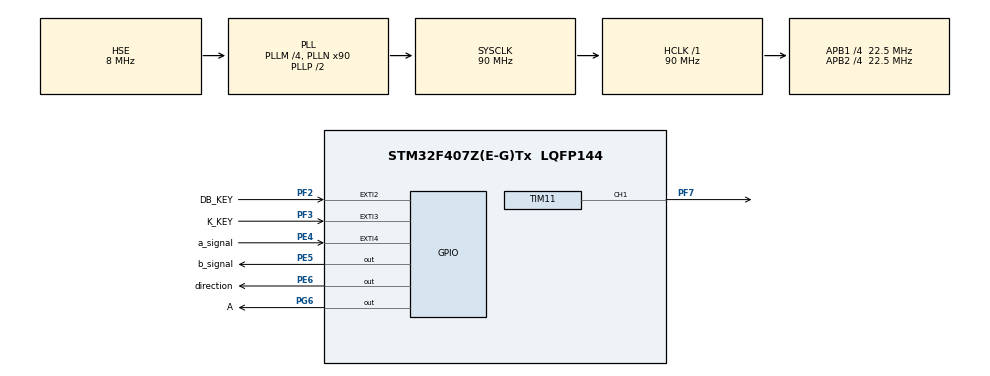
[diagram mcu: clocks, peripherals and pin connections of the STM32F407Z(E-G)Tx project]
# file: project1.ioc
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Mcu.Family=STM32F4
Mcu.Name=STM32F407Z(E-G)Tx
Mcu.Package=LQFP144
NVIC.EXTI2_IRQn=true\:0\:0\:false\:false\:true\:true\:true\:true
NVIC.EXTI3_IRQn=true\:0\:0\:false\:false\:true\:true\:true\:true
NVIC.EXTI4_IRQn=true\:0\:0\:false\:false\:true\:true\:true\:true
NVIC.PriorityGroup=NVIC_PRIORITYGROUP_4
NVIC.TIM6_DAC_IRQn=true\:0\:0\:false\:false\:true\:true\:true\:true
NVIC.TIM7_IRQn=true\:0\:0\:false\:false\:true\:true\:true\:true
PE4.GPIO_Label=a_signal
PE4.Signal=GPXTI4
PE5.GPIO_Label=b_signal
PE5.Signal=GPIO_Output
PE6.GPIO_Label=direction
PE6.Signal=GPIO_Output
PF2.GPIO_Label=DB_KEY
PF2.Signal=GPXTI2
PF3.GPIO_Label=K_KEY
PF3.Signal=GPXTI3
PF7.Signal=S_TIM11_CH1
PG6.GPIO_Label=A
PG6.Signal=GPIO_Output
PH0-OSC_IN.Mode=HSE-External-Oscillator
PH0-OSC_IN.Signal=RCC_OSC_IN
PH1-OSC_OUT.Mode=HSE-External-Oscillator
PH1-OSC_OUT.Signal=RCC_OSC_OUT
ProjectManager.HeapSize=0x200
ProjectManager.StackSize=0x400
ProjectManager.TargetToolchain=STM32CubeIDE
RCC.48MHZClocksFreq_Value=45000000
RCC.AHBFreq_Value=90000000
RCC.APB1CLKDivider=RCC_HCLK_DIV4
RCC.APB1Freq_Value=22500000
RCC.APB1TimFreq_Value=45000000
RCC.APB2CLKDivider=RCC_HCLK_DIV4
RCC.APB2Freq_Value=22500000
RCC.APB2TimFreq_Value=45000000
RCC.CortexFreq_Value=90000000
RCC.HCLKFreq_Value=90000000
RCC.HSE_VALUE=8000000
RCC.HSI_VALUE=16000000
RCC.LSE_VALUE=32768
RCC.PLLM=4
RCC.PLLN=90
RCC.PLLSourceVirtual=RCC_PLLSOURCE_HSE
RCC.SYSCLKFreq_VALUE=90000000
RCC.SYSCLKSource=RCC_SYSCLKSOURCE_PLLCLK
RCC.VCOOutputFreq_Value=180000000
SH.S_TIM11_CH1.0=TIM11_CH1,PWM Generation1 CH1
TIM11.AutoReloadPreload=TIM_AUTORELOAD_PRELOAD_ENABLE
TIM11.Channel=TIM_CHANNEL_1
TIM6.AutoReloadPreload=TIM_AUTORELOAD_PRELOAD_ENABLE
TIM6.TIM_MasterOutputTrigger=TIM_TRGO_UPDATE
TIM7.AutoReloadPreload=TIM_AUTORELOAD_PRELOAD_ENABLE
TIM7.TIM_MasterOutputTrigger=TIM_TRGO_UPDATE
VP_TIM11_VS_ClockSourceINT.Mode=Enable_Timer
VP_TIM6_VS_ClockSourceINT.Mode=Enable_Timer
VP_TIM7_VS_ClockSourceINT.Mode=Enable_Timer
board=custom

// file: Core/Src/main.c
/* USER CODE BEGIN Header */
/**
  ******************************************************************************
  * @file           : main.c
  * @brief          : Main program body
  ******************************************************************************
  * @attention
  *
  * Copyright (c) 2023 STMicroelectronics.
  * All rights reserved.
  *
  * This software is licensed under terms that can be found in the LICENSE file
  * in the root directory of this software component.
  * If no LICENSE file comes with this software, it is provided AS-IS.
  *
  ******************************************************************************
  */
/* USER CODE END Header */
#include "main.h"

TIM_HandleTypeDef htim6;
TIM_HandleTypeDef htim7;
TIM_HandleTypeDef htim11;

/* USER CODE BEGIN PV */

uint16_t speed_pulse = 0;
uint16_t position_pulse = 0;
uint16_t rpm = 0;
uint8_t direction = 0;
uint16_t position = 0;
uint16_t temp = 0;
uint16_t rpm1 = 0, rpm2 = 0;
float d1 = 0.0, d2 = 0.0;
float K = 0;
float time0, time1, tau;
uint16_t rpm_threshold;

uint16_t sp_values[3] = {0,600,1200};
uint8_t sp_direction[3] = {3,3,3};
uint16_t sp_counter = 0;
uint8_t sp_index = 0;
uint8_t start = 0;

float u = 0.0f, u_1 = 0.0f, e = 0.0f, e_1 = 0.0f;
float K_p = 0.02f, K_i = 0.01f;
float T_s = 0.02f;

uint16_t set_point = 0;

uint8_t trart = 0;

/* USER CODE END PV */

void SystemClock_Config(void);
static void MX_GPIO_Init(void);
static void MX_TIM6_Init(void);
static void MX_TIM7_Init(void);
static void MX_TIM11_Init(void);

/* USER CODE BEGIN 0 */

// state machine

typedef enum {
	INIT,
	IDLE,
	DB,
	K_IDEN,
	TAU_IDEN,

}STATE_T;

STATE_T state= INIT;
float Dead_Band = 0;

/* USER CODE END 0 */

int main(void)
{

  /* MCU Configuration--------------------------------------------------------*/

  /* Reset of all peripherals, Initializes the Flash interface and the Systick. */
  HAL_Init();

  /* Configure the system clock */
  SystemClock_Config();

  /* Initialize all configured peripherals */
  MX_GPIO_Init();
  MX_TIM6_Init();
  MX_TIM7_Init();
  MX_TIM11_Init();
  /* USER CODE BEGIN 2 */
  //timer
TIM6 -> PSC = 44;
TIM6 -> ARR = 9999;

HAL_TIM_Base_Start_IT(&htim6);

TIM7 -> PSC = 44;
TIM7 -> ARR = 19999;

//PWM
TIM11 -> PSC = 5;
TIM11 -> ARR = 999;

TIM11 -> CCR1 = 350;
HAL_Delay(1500);
HAL_TIM_PWM_Start(&htim11, TIM_CHANNEL_1);

  /* USER CODE END 2 */

  /* Infinite loop */
  while (1)
  {

    /* USER CODE BEGIN 3 */
//	  switch (state){
//	  case INIT:
//		  state = IDLE;
//		  break;
//
//	  case IDLE:
//		  TIM11 -> CCR1 = 400;
//		  break;
//
//	  case DB:
//		  TIM11 -> CCR1 = 0;
//		  HAL_Delay(2000);
//		  while (!rpm){
//			  TIM11 -> CCR1 ++;
//			  HAL_Delay(50);
//			  Dead_Band = TIM11 -> CCR1 / 10.0;
//		  }
//		  state = IDLE;
//		  break;
//
//	  case K_IDEN:
//		  rpm1 = rpm;
//		  d1 = 0.4;
//		  HAL_Delay(100);
//		  TIM11 -> CCR1 = 699;
//		  HAL_Delay(1000);
//		  rpm2 = rpm;
//		  d2 = 0.7;
//		  K = (rpm2 - rpm1) / (d2 - d1) / 12;
//		  state = TAU_IDEN;
//		  break;
//
//	  case TAU_IDEN:
//
//		  rpm_threshold = ((rpm2 - rpm1)*63)/100 + rpm1;
//		  TIM11 -> CCR1 = 400;
//		  HAL_Delay(5000);
//		  TIM11 -> CCR1 = 700;
//		  HAL_TIM_Base_Start(&htim7);
//		  time0 = __HAL_TIM_GetCounter(&htim7);
//		  __HAL_TIM_SetCounter(&htim7, 0);
//		  while (rpm < rpm_threshold){
//			  tau = __HAL_TIM_GetCounter(&htim7);
//		  }
//		  HAL_TIM_Base_Stop(&htim7);
//		  state = IDLE;
//		  break;
//	  }

  }
  /* USER CODE END 3 */
}

void SystemClock_Config(void)
{
  RCC_OscInitTypeDef RCC_OscInitStruct = {0};
  RCC_ClkInitTypeDef RCC_ClkInitStruct = {0};

  /** Configure the main internal regulator output voltage
  */
  __HAL_RCC_PWR_CLK_ENABLE();
  __HAL_PWR_VOLTAGESCALING_CONFIG(PWR_REGULATOR_VOLTAGE_SCALE1);

  /** Initializes the RCC Oscillators according to the specified parameters
  * in the RCC_OscInitTypeDef structure.
  */
  RCC_OscInitStruct.OscillatorType = RCC_OSCILLATORTYPE_HSE;
  RCC_OscInitStruct.HSEState = RCC_HSE_ON;
  RCC_OscInitStruct.PLL.PLLState = RCC_PLL_ON;
  RCC_OscInitStruct.PLL.PLLSource = RCC_PLLSOURCE_HSE;
  RCC_OscInitStruct.PLL.PLLM = 4;
  RCC_OscInitStruct.PLL.PLLN = 90;
  RCC_OscInitStruct.PLL.PLLP = RCC_PLLP_DIV2;
  RCC_OscInitStruct.PLL.PLLQ = 4;
  if (HAL_RCC_OscConfig(&RCC_OscInitStruct) != HAL_OK)
  {
    Error_Handler();
  }

  /** Initializes the CPU, AHB and APB buses clocks
  */
  RCC_ClkInitStruct.ClockType = RCC_CLOCKTYPE_HCLK|RCC_CLOCKTYPE_SYSCLK
                              |RCC_CLOCKTYPE_PCLK1|RCC_CLOCKTYPE_PCLK2;
  RCC_ClkInitStruct.SYSCLKSource = RCC_SYSCLKSOURCE_PLLCLK;
  RCC_ClkInitStruct.AHBCLKDivider = RCC_SYSCLK_DIV1;
  RCC_ClkInitStruct.APB1CLKDivider = RCC_HCLK_DIV4;
  RCC_ClkInitStruct.APB2CLKDivider = RCC_HCLK_DIV4;

  if (HAL_RCC_ClockConfig(&RCC_ClkInitStruct, FLASH_LATENCY_2) != HAL_OK)
  {
    Error_Handler();
  }
}

static void MX_TIM6_Init(void)
{

  TIM_MasterConfigTypeDef sMasterConfig = {0};

  htim6.Instance = TIM6;
  htim6.Init.Prescaler = 0;
  htim6.Init.CounterMode = TIM_COUNTERMODE_UP;
  htim6.Init.Period = 65535;
  htim6.Init.AutoReloadPreload = TIM_AUTORELOAD_PRELOAD_ENABLE;
  if (HAL_TIM_Base_Init(&htim6) != HAL_OK)
  {
    Error_Handler();
  }
  sMasterConfig.MasterOutputTrigger = TIM_TRGO_UPDATE;
  sMasterConfig.MasterSlaveMode = TIM_MASTERSLAVEMODE_DISABLE;
  if (HAL_TIMEx_MasterConfigSynchronization(&htim6, &sMasterConfig) != HAL_OK)
  {
    Error_Handler();
  }

}

static void MX_TIM7_Init(void)
{

  TIM_MasterConfigTypeDef sMasterConfig = {0};

  htim7.Instance = TIM7;
  htim7.Init.Prescaler = 0;
  htim7.Init.CounterMode = TIM_COUNTERMODE_UP;
  htim7.Init.Period = 65535;
  htim7.Init.AutoReloadPreload = TIM_AUTORELOAD_PRELOAD_ENABLE;
  if (HAL_TIM_Base_Init(&htim7) != HAL_OK)
  {
    Error_Handler();
  }
  sMasterConfig.MasterOutputTrigger = TIM_TRGO_UPDATE;
  sMasterConfig.MasterSlaveMode = TIM_MASTERSLAVEMODE_DISABLE;
  if (HAL_TIMEx_MasterConfigSynchronization(&htim7, &sMasterConfig) != HAL_OK)
  {
    Error_Handler();
  }

}

static void MX_TIM11_Init(void)
{

  TIM_OC_InitTypeDef sConfigOC = {0};

  htim11.Instance = TIM11;
  htim11.Init.Prescaler = 0;
  htim11.Init.CounterMode = TIM_COUNTERMODE_UP;
  htim11.Init.Period = 65535;
  htim11.Init.ClockDivision = TIM_CLOCKDIVISION_DIV1;
  htim11.Init.AutoReloadPreload = TIM_AUTORELOAD_PRELOAD_ENABLE;
  if (HAL_TIM_Base_Init(&htim11) != HAL_OK)
  {
    Error_Handler();
  }
  if (HAL_TIM_PWM_Init(&htim11) != HAL_OK)
  {
    Error_Handler();
  }
  sConfigOC.OCMode = TIM_OCMODE_PWM1;
  sConfigOC.Pulse = 0;
  sConfigOC.OCPolarity = TIM_OCPOLARITY_HIGH;
  sConfigOC.OCFastMode = TIM_OCFAST_DISABLE;
  if (HAL_TIM_PWM_ConfigChannel(&htim11, &sConfigOC, TIM_CHANNEL_1) != HAL_OK)
  {
    Error_Handler();
  }
  HAL_TIM_MspPostInit(&htim11);

}

static void MX_GPIO_Init(void)
{
  GPIO_InitTypeDef GPIO_InitStruct = {0};

  /* GPIO Ports Clock Enable */
  __HAL_RCC_GPIOE_CLK_ENABLE();
  __HAL_RCC_GPIOF_CLK_ENABLE();
  __HAL_RCC_GPIOH_CLK_ENABLE();
  __HAL_RCC_GPIOG_CLK_ENABLE();

  /*Configure GPIO pin Output Level */
  HAL_GPIO_WritePin(GPIOE, b_signal_Pin|direction_Pin, GPIO_PIN_RESET);

  /*Configure GPIO pin Output Level */
  HAL_GPIO_WritePin(A_GPIO_Port, A_Pin, GPIO_PIN_RESET);

  /*Configure GPIO pin : a_signal_Pin */
  GPIO_InitStruct.Pin = a_signal_Pin;
  GPIO_InitStruct.Mode = GPIO_MODE_IT_RISING;
  GPIO_InitStruct.Pull = GPIO_NOPULL;
  HAL_GPIO_Init(a_signal_GPIO_Port, &GPIO_InitStruct);

  /*Configure GPIO pins : b_signal_Pin direction_Pin */
  GPIO_InitStruct.Pin = b_signal_Pin|direction_Pin;
  GPIO_InitStruct.Mode = GPIO_MODE_OUTPUT_PP;
  GPIO_InitStruct.Pull = GPIO_NOPULL;
  GPIO_InitStruct.Speed = GPIO_SPEED_FREQ_LOW;
  HAL_GPIO_Init(GPIOE, &GPIO_InitStruct);

  /*Configure GPIO pins : DB_KEY_Pin K_KEY_Pin */
  GPIO_InitStruct.Pin = DB_KEY_Pin|K_KEY_Pin;
  GPIO_InitStruct.Mode = GPIO_MODE_IT_RISING;
  GPIO_InitStruct.Pull = GPIO_NOPULL;
  HAL_GPIO_Init(GPIOF, &GPIO_InitStruct);

  /*Configure GPIO pin : A_Pin */
  GPIO_InitStruct.Pin = A_Pin;
  GPIO_InitStruct.Mode = GPIO_MODE_OUTPUT_PP;
  GPIO_InitStruct.Pull = GPIO_NOPULL;
  GPIO_InitStruct.Speed = GPIO_SPEED_FREQ_LOW;
  HAL_GPIO_Init(A_GPIO_Port, &GPIO_InitStruct);

  /* EXTI interrupt init*/
  HAL_NVIC_SetPriority(EXTI2_IRQn, 0, 0);
  HAL_NVIC_EnableIRQ(EXTI2_IRQn);

  HAL_NVIC_SetPriority(EXTI3_IRQn, 0, 0);
  HAL_NVIC_EnableIRQ(EXTI3_IRQn);

  HAL_NVIC_SetPriority(EXTI4_IRQn, 0, 0);
  HAL_NVIC_EnableIRQ(EXTI4_IRQn);

}

/* USER CODE BEGIN 4 */

void HAL_TIM_PeriodElapsedCallback(TIM_HandleTypeDef *htim) {

	if (htim->Instance == TIM7){

//	sp_counter++;
//
//	if(sp_counter>50* sp_direction[sp_index]){
//		set_point = sp_values[sp_index];
//		sp_index++;
//		sp_counter = 0;
//		sp_index = sp_index%3;
//		}

	e = set_point - rpm;
	u = u_1 + (T_s * K_i + K_p) * e + (-1)*K_p*e_1;
	if (u < 0){
		u = (-1) * u;
		//HAL_GPIO_WritePin(b_signal_Pin_GPIO_, b_signal_Pin, PinState)
		HAL_GPIO_WritePin(direction_GPIO_Port, direction_Pin, GPIO_PIN_SET);
	}
	else {
		  HAL_GPIO_WritePin(direction_GPIO_Port, direction_Pin, GPIO_PIN_RESET);
	}
	TIM11->CCR1 = (uint32_t)((u / 12.0f) * 1000);
	e_1 = e;
	u_1 = u;

	}

	if (htim ->Instance == TIM6) {
		rpm = (speed_pulse*6000)/1024;
		position = position_pulse%1024;
		speed_pulse = 0;

	}
}

void HAL_GPIO_EXTI_Callback(uint16_t GPIO_Pin) {

	if (GPIO_Pin == a_signal_Pin) {
		speed_pulse++;

		if (HAL_GPIO_ReadPin(b_signal_GPIO_Port, b_signal_Pin) == GPIO_PIN_SET){
			direction = 1; //ccw
			position_pulse--;
		}
			else{
				direction = 0; //cw
				position_pulse++;
			}

	}

	if (GPIO_Pin == DB_KEY_Pin){

		start = (start>0) ? 0 : 1;

		if(start>0){
		set_point = 1000;

	HAL_TIM_Base_Start_IT(&htim7);
	}
		else {
			HAL_TIM_Base_Stop_IT(&htim7);
			TIM11->CCR1 = 0;
	}

	}

}

/* USER CODE END 4 */

void Error_Handler(void)
{
  __disable_irq();
  while (1)
  {
  }
}
